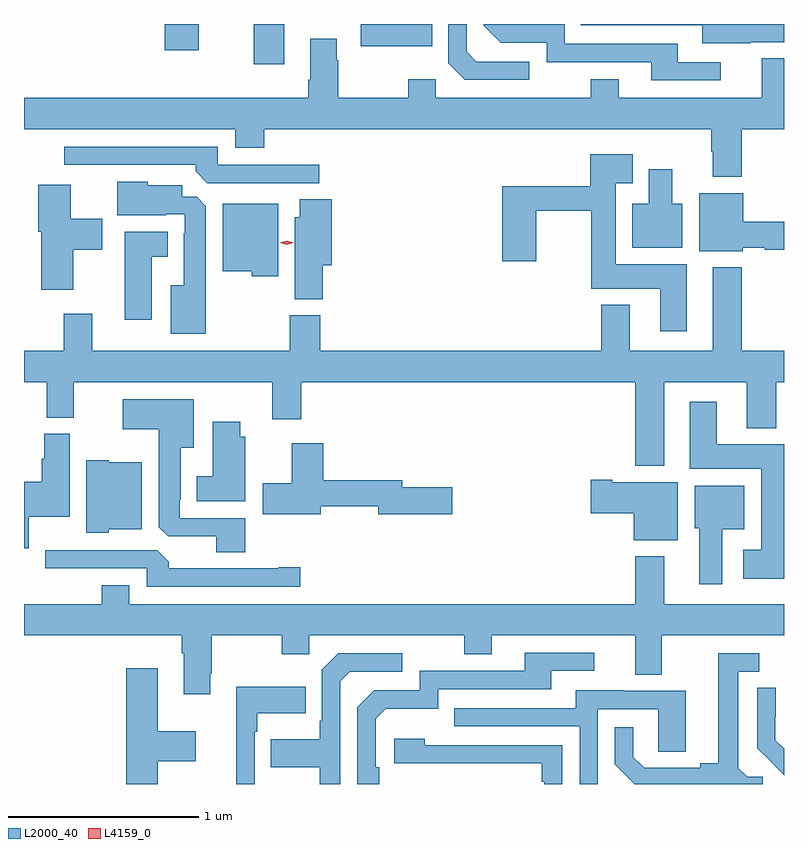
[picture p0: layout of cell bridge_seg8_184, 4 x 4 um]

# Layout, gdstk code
import gdstk
lib = gdstk.Library(unit=1e-6, precision=1e-09)
def R(c, l, rs):  # rectangles x0, y0, x1, y1
    for r in rs: c.add(gdstk.rectangle(r[:2], r[2:], *l))
def P(c, l, *ps):  # polygons
    for p in ps: c.add(gdstk.Polygon(p, *l))
L2000_40 = (2000, 40)
L4159_0 = (4159, 0)

bridge_seg8_184 = lib.new_cell('bridge_seg8_184')
R(bridge_seg8_184, L2000_40, [(274.357,1096.86,274.519,1097.073), (273.89,1096.935,274.068,1097.073), (274.92,1096.955,275.297,1097.073)])
P(bridge_seg8_184, L2000_40, [(276.814,1096.872),(276.589,1096.872),(276.589,1096.968),(275.994,1096.968),(275.994,1097.071),(275.717,1097.071),(275.715,1097.073),(275.568,1097.073),(275.568,1097.064),(275.658,1096.974),(275.898,1096.974),(275.898,1096.872),(276.449,1096.872),(276.449,1096.776),(276.814,1096.776)],
  [(276.973,1096.977),(277.148,1096.977),(277.148,1097.073),(276.079,1097.073),(276.079,1097.067),(276.719,1097.067),(276.719,1096.973),(276.973,1096.973)],
  [(275.806,1096.875),(275.529,1096.875),(275.478,1096.926),(275.478,1097.073),(275.382,1097.073),(275.382,1096.866),(275.469,1096.779),(275.806,1096.779)],
  [(276.926,1096.52),(277.148,1096.52),(277.148,1096.892),(277.031,1096.892),(277.031,1096.684),(276.277,1096.684),(276.277,1096.783),(276.13,1096.783),(276.13,1096.684),(275.316,1096.684),(275.316,1096.783),(275.17,1096.783),(275.17,1096.684),(274.803,1096.684),(274.803,1096.883),(274.795,1096.883),(274.795,1096.996),(274.655,1096.996),(274.655,1096.78),(274.643,1096.78),(274.643,1096.684),(273.148,1096.684),(273.148,1096.52),(274.259,1096.52),(274.259,1096.421),(274.412,1096.421),(274.412,1096.52),(276.766,1096.52),(276.766,1096.4),(276.773,1096.4),(276.773,1096.268),(276.926,1096.268)],
  [(274.702,1096.332),(274.167,1096.332),(274.167,1096.428),(273.36,1096.428),(273.36,1096.332),(274.052,1096.332),(274.052,1096.298),(274.113,1096.236),(274.702,1096.236)],
  [(276.637,1095.808),(276.262,1095.808),(276.262,1096.235),(276.352,1096.235),(276.352,1096.387),(276.128,1096.387),(276.128,1096.219),(275.666,1096.219),(275.666,1095.825),(275.844,1095.825),(275.844,1096.09),(276.133,1096.09),(276.133,1095.68),(276.497,1095.68),(276.497,1095.456),(276.637,1095.456)],
  [(276.613,1096.126),(276.559,1096.126),(276.559,1096.309),(276.437,1096.309),(276.437,1096.126),(276.35,1096.126),(276.35,1095.896),(276.613,1095.896)],
  [(274.105,1096.115),(274.056,1096.164),(273.982,1096.164),(273.982,1096.225),(273.798,1096.225),(273.798,1096.243),(273.638,1096.243),(273.638,1096.067),(273.893,1096.067),(273.893,1096.071),(273.993,1096.071),(273.993,1095.971),(273.989,1095.971),(273.989,1095.697),(273.92,1095.697),(273.92,1095.443),(274.105,1095.443)],
  [(273.406,1095.886),(273.559,1095.886),(273.559,1096.048),(273.394,1096.048),(273.394,1096.228),(273.224,1096.228),(273.224,1095.979),(273.239,1095.979),(273.239,1095.675),(273.406,1095.675)],
  [(276.93,1095.896),(277.047,1095.896),(277.047,1095.884),(277.148,1095.884),(277.148,1096.031),(276.934,1096.031),(276.934,1096.183),(276.701,1096.183),(276.701,1095.878),(276.93,1095.878)],
  [(274.721,1095.803),(274.769,1095.803),(274.769,1096.151),(274.598,1096.151),(274.598,1096.056),(274.574,1096.056),(274.574,1095.625),(274.721,1095.625)],
  [(274.486,1096.126),(274.193,1096.126),(274.193,1095.773),(274.347,1095.773),(274.347,1095.746),(274.486,1095.746)],
  [(273.82,1095.848),(273.904,1095.848),(273.904,1095.979),(273.677,1095.979),(273.677,1095.516),(273.82,1095.516)],
  [(276.517,1095.188),(276.953,1095.188),(276.953,1094.945),(277.106,1094.945),(277.106,1095.188),(277.148,1095.188),(277.148,1095.352),(276.926,1095.352),(276.926,1095.793),(276.773,1095.793),(276.773,1095.352),(276.337,1095.352),(276.337,1095.595),(276.185,1095.595),(276.185,1095.352),(274.706,1095.352),(274.706,1095.54),(274.546,1095.54),(274.546,1095.352),(273.508,1095.352),(273.508,1095.547),(273.356,1095.547),(273.356,1095.352),(273.148,1095.352),(273.148,1095.188),(273.269,1095.188),(273.269,1095.001),(273.409,1095.001),(273.409,1095.188),(274.454,1095.188),(274.454,1094.994),(274.607,1094.994),(274.607,1095.188),(276.365,1095.188),(276.365,1094.747),(276.517,1094.747)],
  [(274.313,1094.472),(273.969,1094.472),(273.969,1094.569),(273.973,1094.569),(273.973,1094.843),(274.042,1094.843),(274.042,1095.097),(273.669,1095.097),(273.669,1094.939),(273.857,1094.939),(273.857,1094.425),(273.906,1094.376),(274.16,1094.376),(274.16,1094.293),(274.313,1094.293)],
  [(277.148,1094.86),(276.793,1094.86),(276.793,1095.085),(276.653,1095.085),(276.653,1094.732),(277.028,1094.732),(277.028,1094.305),(276.933,1094.305),(276.933,1094.153),(277.148,1094.153)],
  [(274.312,1094.901),(274.285,1094.901),(274.285,1094.98),(274.142,1094.98),(274.142,1094.692),(274.058,1094.692),(274.058,1094.561),(274.312,1094.561)],
  [(273.172,1094.48),(273.388,1094.48),(273.388,1094.916),(273.254,1094.916),(273.254,1094.786),(273.242,1094.786),(273.242,1094.665),(273.148,1094.665),(273.148,1094.313),(273.172,1094.313)],
  [(274.711,1094.536),(275.012,1094.536),(275.012,1094.494),(275.401,1094.494),(275.401,1094.636),(275.14,1094.636),(275.14,1094.672),(274.724,1094.672),(274.724,1094.866),(274.556,1094.866),(274.556,1094.655),(274.404,1094.655),(274.404,1094.492),(274.711,1094.492)],
  [(273.594,1094.414),(273.769,1094.414),(273.769,1094.767),(273.594,1094.767),(273.594,1094.776),(273.476,1094.776),(273.476,1094.396),(273.594,1094.396)],
  [(276.589,1094.662),(276.244,1094.662),(276.244,1094.675),(276.132,1094.675),(276.132,1094.497),(276.356,1094.497),(276.356,1094.357),(276.589,1094.357)],
  [(276.823,1094.414),(276.94,1094.414),(276.94,1094.644),(276.677,1094.644),(276.677,1094.418),(276.701,1094.418),(276.701,1094.124),(276.823,1094.124)],
  [(274.603,1094.213),(274.49,1094.213),(274.49,1094.208),(273.911,1094.208),(273.911,1094.242),(273.849,1094.304),(273.261,1094.304),(273.261,1094.208),(273.795,1094.208),(273.795,1094.112),(274.603,1094.112)],
  [(274.129,1093.657),(274.137,1093.657),(274.137,1093.856),(274.504,1093.856),(274.504,1093.757),(274.65,1093.757),(274.65,1093.856),(275.464,1093.856),(275.464,1093.757),(275.611,1093.757),(275.611,1093.856),(276.365,1093.856),(276.365,1093.648),(276.505,1093.648),(276.505,1093.856),(277.148,1093.856),(277.148,1094.02),(276.517,1094.02),(276.517,1094.272),(276.365,1094.272),(276.365,1094.02),(273.703,1094.02),(273.703,1094.119),(273.556,1094.119),(273.556,1094.02),(273.148,1094.02),(273.148,1093.856),(273.977,1093.856),(273.977,1093.76),(273.989,1093.76),(273.989,1093.545),(274.129,1093.545)],
  [(275.018,1093.162),(274.998,1093.162),(274.998,1093.416),(275.051,1093.469),(275.328,1093.469),(275.328,1093.572),(275.923,1093.572),(275.923,1093.668),(276.148,1093.668),(276.148,1093.764),(275.783,1093.764),(275.783,1093.668),(275.232,1093.668),(275.232,1093.566),(274.992,1093.566),(274.902,1093.476),(274.902,1093.073),(275.018,1093.073)],
  [(274.812,1093.614),(274.863,1093.665),(275.14,1093.665),(275.14,1093.761),(274.803,1093.761),(274.716,1093.674),(274.716,1093.405),(274.704,1093.405),(274.704,1093.309),(274.447,1093.309),(274.447,1093.162),(274.704,1093.162),(274.704,1093.073),(274.812,1093.073)],
  [(277.036,1093.11),(276.954,1093.11),(276.907,1093.157),(276.907,1093.665),(277.018,1093.665),(277.018,1093.761),(276.803,1093.761),(276.803,1093.181),(276.707,1093.181),(276.707,1093.158),(276.412,1093.158),(276.355,1093.215),(276.355,1093.372),(276.258,1093.372),(276.258,1093.178),(276.363,1093.073),(277.036,1093.073)],
  [(273.853,1093.193),(274.051,1093.193),(274.051,1093.351),(273.853,1093.351),(273.853,1093.681),(273.686,1093.681),(273.686,1093.073),(273.853,1093.073)],
  [(274.362,1093.349),(274.375,1093.349),(274.375,1093.445),(274.631,1093.445),(274.631,1093.585),(274.265,1093.585),(274.265,1093.073),(274.362,1093.073)],
  [(277.148,1093.258),(277.103,1093.304),(277.103,1093.426),(277.104,1093.426),(277.104,1093.58),(277.008,1093.58),(277.008,1093.262),(277.081,1093.189),(277.08,1093.188),(277.148,1093.12)],
  [(276.168,1093.467),(276.486,1093.467),(276.486,1093.243),(276.631,1093.243),(276.631,1093.563),(276.307,1093.563),(276.307,1093.567),(276.053,1093.567),(276.053,1093.473),(275.413,1093.473),(275.413,1093.377),(276.072,1093.377),(276.072,1093.073),(276.168,1093.073)],
  [(275.982,1093.278),(275.258,1093.278),(275.258,1093.312),(275.097,1093.312),(275.097,1093.182),(275.873,1093.182),(275.873,1093.085),(275.886,1093.085),(275.886,1093.073),(275.982,1093.073)])
P(bridge_seg8_184, L4159_0, [(274.531,1095.912),(274.493,1095.922),(274.493,1095.922),(274.493,1095.923),(274.531,1095.932),(274.568,1095.923),(274.569,1095.923),(274.568,1095.922)])

lib.write_gds('bridge_seg8_184.gds')
